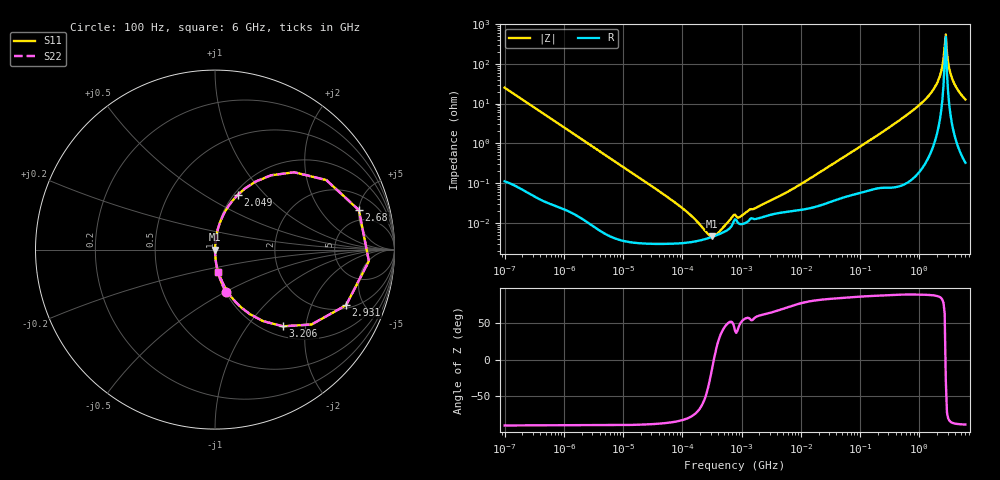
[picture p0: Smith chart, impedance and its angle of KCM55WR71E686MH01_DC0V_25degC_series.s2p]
!Murata Part Number: KCM55WR71E686MH01
!These Parameters are Measured in Series Mode Connection
!  o--ll--o
!Port1  Port2
!  o------o
!Operation Temp=25[degC], DC Bias Voltage=0[V]
!Freq. Start=100[Hz] Stop=6[GHz], 401[Steps]
!Data Generated on Feb 1, 2023
# Hz S RI R 50
!Freq.(Hz) S11(Real) S11(Imag) S21(Real) S21(Imag) S12(Real) S12(Imag) S22(Real) S22(Imag)
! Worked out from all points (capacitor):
!   401 points, 100 Hz to 6 GHz, reference 50 ohm
!   read as one part in series: C = 63.2 uF near 109.4 Hz
!   lowest |Z| = 4.52 mohm at 316.4 kHz (marker M1)
!   series resonance near 340.4 kHz, so ESL is about 3.5 nH
!   S11 on the Smith chart (normalised r, x): 100 Hz: 1.00, -0.50; 2.049 GHz: 1.04, +0.71; 2.68 GHz: 3.51, +5.01; 2.931 GHz: 2.19, -3.67; 3.206 GHz: 1.18, -1.50; 6 GHz: 1.01, -0.25
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100  0.0604 -0.2359  0.9396 0.2359  0.9396 0.2359  0.0604 -0.2359
334.9849  0.00608 -0.0749  0.9939 0.0749  0.9939 0.0749  0.00608 -0.0749
2008.354  0.000288 -0.0127  0.9997 0.0127  0.9997 0.0127  0.000288 -0.0127
40334.87  2.97e-05 -0.000625  1 0.000625  1 0.000625  2.97e-05 -0.000625
184851.7  3.5e-05 -9.47e-05  1 9.47e-05  1 9.47e-05  3.5e-05 -9.47e-05
316350.2  4.4e-05 -1.02e-05  1 1.02e-05  1 1.02e-05  4.4e-05 -1.02e-05
541393  6.17e-05 6.54e-05  0.9999 -6.54e-05  0.9999 -6.54e-05  6.17e-05 6.54e-05
774596.7  0.000123 0.000102  0.9999 -0.000102  0.9999 -0.000102  0.000123 0.000102
968952.6  9.2e-05 0.000112  0.9999 -0.000112  0.9999 -0.000112  9.2e-05 0.000112
1.555665e7  0.000241 0.00139  0.9998 -0.00139  0.9998 -0.00139  0.000241 0.00139
3.124326e8  0.0014 0.0252  0.9986 -0.0252  0.9986 -0.0252  0.0014 0.0252
1.144649e9  0.0144 0.1083  0.9856 -0.1083  0.9856 -0.1083  0.0144 0.1083
1.637704e9  0.0446 0.19  0.9554 -0.19  0.9554 -0.19  0.0446 0.19
2.048624e9  0.1274 0.3054  0.8726 -0.3054  0.8726 -0.3054  0.1274 0.3054
2.240541e9  0.2249 0.3783  0.7751 -0.3783  0.7751 -0.3783  0.2249 0.3783
2.450438e9  0.4415 0.4309  0.5585 -0.4309  0.5585 -0.4309  0.4415 0.4309
2.679998e9  0.8016 0.2204  0.1984 -0.2204  0.1984 -0.2204  0.8016 0.2204
2.931063e9  0.7299 -0.3104  0.2701 0.3104  0.2701 0.3104  0.7299 -0.3104
3.205649e9  0.3784 -0.4273  0.6216 0.4273  0.6216 0.4273  0.3784 -0.4273
3.505958e9  0.1956 -0.3603  0.8044 0.3603  0.8044 0.3603  0.1956 -0.3603
3.8344e9  0.1128 -0.2898  0.8872 0.2898  0.8872 0.2898  0.1128 -0.2898
6e9  0.0189 -0.124  0.9811 0.124  0.9811 0.124  0.0189 -0.124
